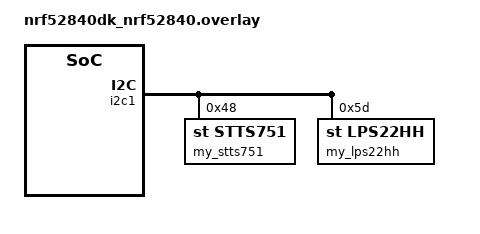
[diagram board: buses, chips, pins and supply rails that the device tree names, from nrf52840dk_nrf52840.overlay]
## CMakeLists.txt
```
cmake_minimum_required(VERSION 3.20.0)
find_package(Zephyr REQUIRED HINTS $ENV{ZEPHYR_BASE})

project(Project2)

target_sources(app PRIVATE src/main.c)
```

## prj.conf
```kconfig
CONFIG_LOG=y
CONFIG_GPIO=y
CONFIG_SMF=y
CONFIG_EVENTS=y
CONFIG_I2C=y
CONFIG_SENSOR=y
CONFIG_STTS751=y
CONFIG_LPS22HH=y
CONFIG_LOG_BACKEND_UART=y
CONFIG_SERIAL=y
CONFIG_CONSOLE=y
CONFIG_UART_CONSOLE=y
CONFIG_SERIAL=y


# Bluetooth LE
CONFIG_BT=y
CONFIG_BT_PERIPHERAL=y
CONFIG_BT_DEVICE_NAME="YCW_Node"

# Increase stack size for the main thread and System Workqueue
CONFIG_SYSTEM_WORKQUEUE_STACK_SIZE=2048
CONFIG_MAIN_STACK_SIZE=2048
CONFIG_LOG_MODE_DEFERRED=y
CONFIG_LOG_PROCESS_THREAD_STACK_SIZE=1024
```

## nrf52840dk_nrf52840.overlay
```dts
// To get started, press Ctrl+Space to bring up the completion menu and view the available nodes.

// You can also use the buttons in the sidebar to perform actions on nodes.
// Actions currently available include:

// * Enabling / disabling the node
// * Adding the bus to a bus
// * Removing the node
// * Connecting ADC channels

// For more help, browse the DeviceTree documentation at https://docs.zephyrproject.org/latest/guides/dts/index.html
// You can also visit the nRF DeviceTree extension documentation at https://docs.nordicsemi.com/bundle/nrf-connect-vscode/page/guides/ncs_configure_app.html#devicetree-support-in-the-extension
&i2c1 {
    status = "okay";
};


&i2c1 {
    my_stts751: stts751@48 {
        compatible = "st,stts751";
        reg = <0x48>;
    };

    my_lps22hh: lps22hh@5d {
        compatible = "st,lps22hh";
        reg = <0x5d>;
    };
};
```

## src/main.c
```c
#include <zephyr/kernel.h>
#include <zephyr/device.h>
#include <zephyr/devicetree.h>
#include <zephyr/logging/log.h>

#include <zephyr/drivers/i2c.h>
#include <zephyr/sys/printk.h>

#include <zephyr/bluetooth/bluetooth.h>
#include <zephyr/bluetooth/gap.h>
#include <zephyr/bluetooth/uuid.h>
#include <zephyr/bluetooth/conn.h>
#include <zephyr/bluetooth/gatt.h>

#include <math.h>
#include "main.h"
#include "my_ess.h"

#define SLEEP_TIME_MS   1000
#define STACKSIZE 2048

#define THREAD0_PRIORITY 7 //ble_notify thread
#define THREAD1_PRIORITY 7 //stss751_poll thread
#define THREAD2_PRIORITY 7 //lps22hh_poll thread

/* Define the I2C slave device address and the addresses of relevant registers */
#define STTS751_TEMP_HIGH_REG            0x00
#define STTS751_TEMP_LOW_REG             0x02
// #define STTS751_CONFIG_REG               0x03
#define LPS22HH_PRES_OUT_H               0x2A
#define LPS22HH_PRES_OUT_L               0x29
#define LPS22HH_PRES_OUT_XL              0x28
#define LPS22HH_CTRL_REG1                0x10
// #define LPS22HH_CTRL_REG2                0x11
// #define LPS22HH_CTRL_REG3                0x12

/* Get the node identifier of the sensor */
#define I2C_NODE    DT_NODELABEL(my_stts751)
#define I2C_NODE1   DT_NODELABEL(my_lps22hh)

BUILD_ASSERT(DT_NODE_HAS_STATUS(I2C_NODE, okay), "I2C_NODE not okay");
BUILD_ASSERT(DT_NODE_HAS_STATUS(I2C_NODE1, okay), "I2C_NODE1 not okay");


LOG_MODULE_REGISTER(main, LOG_LEVEL_DBG);

typedef struct {
    float temp_value;  // assume sensors no more precise than float32
    float pres_value;
    uint8_t sensor_id;  // up to 256 sensors
} SensorReading;

K_MUTEX_DEFINE(msgq_mutex);

K_MSGQ_DEFINE(msgq_ble_notify, sizeof(SensorReading), 16, 8);

static const struct bt_le_adv_param *adv_param = BT_LE_ADV_CONN;


/*static struct bt_le_adv_param adv_param = BT_LE_ADV_PARAM_INIT(
    //(
    //    BT_LE_ADV_OPT_CONNECTABLE
    //), /* Connectable advertising */
    //800, /* Min Advertising Interval 500ms (800*0.625ms) */
    //1001, /* Max Advertising Interval 625.625ms (1001*0.625ms) */
    //NULL); /* Set to NULL for undirected advertising */


static const struct bt_data adv_data[] = {
    BT_DATA_BYTES(BT_DATA_FLAGS, BT_LE_AD_NO_BREDR),
    BT_DATA(BT_DATA_NAME_COMPLETE, 
        CONFIG_BT_DEVICE_NAME, 
        sizeof(CONFIG_BT_DEVICE_NAME) - 1
    ),

};

static const struct bt_data scan_data[] = {
    BT_DATA_BYTES(BT_DATA_UUID128_ALL, BT_UUID_16_ENCODE(BT_UUID_ESS_VAL)),
};

static void on_connected(struct bt_conn *conn, uint8_t err)
{
    if (err) {
		//printk("Connection failed (err %u)\n", err);
        LOG_ERR("Connection failed (err %u)\n", err);
		return;
	}
	//printk("Connected\n");
    LOG_INF("Connected\n");
}

static void on_disconnected(struct bt_conn *conn, uint8_t reason)
{
	// printk("Disconnected (reason %u)\n", reason);
    LOG_INF("Disconnected (reason %u)\n", reason);
}

struct bt_conn_cb connection_callbacks = {
	.connected = on_connected,
	.disconnected = on_disconnected,
};

BT_GATT_SERVICE_DEFINE(
    my_ess_service,
    BT_GATT_PRIMARY_SERVICE(BT_UUID_ESS),  // [0]
    BT_GATT_CHARACTERISTIC(   // [1]
        BT_UUID_TEMPERATURE,  // [2]
        BT_GATT_CHRC_NOTIFY,
        BT_GATT_PERM_NONE,
        NULL, NULL, NULL  
    ),
    
    BT_GATT_CCC(    // [3]
        NULL,
        BT_GATT_PERM_READ | BT_GATT_PERM_WRITE
    ),
);

BT_GATT_SERVICE_DEFINE(
    my_ess_service1,
    BT_GATT_PRIMARY_SERVICE(BT_UUID_HRS),  // [0]
    BT_GATT_CHARACTERISTIC(   // [1]
        BT_UUID_PRESSURE,  // [2]
        BT_GATT_CHRC_NOTIFY,
        BT_GATT_PERM_NONE,
        NULL, NULL, NULL  
    ),
    
    BT_GATT_CCC(    // [3]
        NULL,
        BT_GATT_PERM_READ | BT_GATT_PERM_WRITE
    ),
);

void thread0(void) {
    // printk("Started notifying thread. \n");
    LOG_DBG("Started notifying thread.");
    int16_t ble_char_temperature;
    int32_t ble_char_pressure;
    while (true) {
        SensorReading now_sensor_reading;
        // k_mutex_lock(&msgq_mutex, K_FOREVER);
        k_msgq_get(&msgq_ble_notify, &now_sensor_reading, K_FOREVER);
        // k_mutex_unlock(&msgq_mutex);

        LOG_DBG("Message Recieved %d", now_sensor_reading.sensor_id);

        if (now_sensor_reading.sensor_id == 0) // this is the temperature sensor
        {
            LOG_DBG("Message Recieved %f", (double)now_sensor_reading.temp_value);
            // according to Bluetooth Characteristic Specs, raw value is divided by 100
            ble_char_temperature = (int16_t)(nearbyintf(now_sensor_reading.temp_value * 100));
            bt_gatt_notify(  // actual call to notify and change the [2] value
                NULL,
                &my_ess_service.attrs[2],
                &(ble_char_temperature),
                sizeof(ble_char_temperature)
            );
        }

        if (now_sensor_reading.sensor_id == 1) // this is the pressure sensor
        {
            LOG_DBG("Message Recieved %f", (double)now_sensor_reading.pres_value);
            // according to Bluetooth Characteristic Specs, raw value is divided by ??
            ble_char_pressure = (int32_t)(nearbyintf(now_sensor_reading.pres_value));
            bt_gatt_notify(  // actual call to notify and change the [2] value
                NULL,
                &my_ess_service1.attrs[2],
                &(ble_char_pressure),
                sizeof(ble_char_pressure)
            );
        }
    }
};
void thread1(void* void_msec_period) {
    float temp_degC;
    SensorReading now_stts751_reading;
    // printk("Started STTS751 polling thread. \n");
    LOG_DBG("Started STTS751 polling thread.");
    while (true) {
        temp_degC = poll_stts751_temp();
        now_stts751_reading.sensor_id = 0;
        now_stts751_reading.temp_value = temp_degC;
        // k_mutex_lock(&msgq_mutex, K_FOREVER);
        k_msgq_put(&msgq_ble_notify, &now_stts751_reading, K_FOREVER);
        // k_mutex_unlock(&msgq_mutex);
        k_msleep(SLEEP_TIME_MS);
    }
};
void thread2(void) {
    float Pa_value;
    SensorReading now_lps22hh_reading;
    // printk("Started LPS22HH polling thread. \n");
    LOG_DBG("Started LPS22HH polling thread.");
    while (true) {
        Pa_value = poll_lps22hh_pres();
        now_lps22hh_reading.sensor_id = 1;
        now_lps22hh_reading.pres_value = Pa_value;
        // k_mutex_lock(&msgq_mutex, K_FOREVER);
        k_msgq_put(&msgq_ble_notify, &now_lps22hh_reading, K_FOREVER);
        // k_mutex_unlock(&msgq_mutex);
        k_msleep(2 * SLEEP_TIME_MS);
    }
};

/* Define and initialize the threads */
K_THREAD_DEFINE(thread0_id, STACKSIZE, thread0, NULL, NULL, NULL,
		THREAD0_PRIORITY, 0, 0);
K_THREAD_DEFINE(thread1_id, STACKSIZE, thread1, NULL, NULL, NULL,
		THREAD1_PRIORITY, 0, 0);
K_THREAD_DEFINE(thread2_id, STACKSIZE, thread2, NULL, NULL, NULL,
		THREAD2_PRIORITY, 0, 0);

int main(void)
{
	int err;

    // k_mutex_init(&msgq_mutex);

    err = bt_enable(NULL);
    if (err) {
        // printk("Bluetooth init failed (err %d)\n", err);
        LOG_ERR("Bluetooth init failed (err %d)\n", err);
        return err;
    }

    bt_conn_cb_register(&connection_callbacks);
    // printk("Bluetooth initialized\n");
    LOG_INF("Bluetooth initialized\n");

    err = bt_le_adv_start(
        adv_param,
        adv_data, ARRAY_SIZE(adv_data),
        scan_data, ARRAY_SIZE(scan_data)
    );
    

    if (err) {
        // printk("Advertising failed to start (err %d)\n", err);
        LOG_ERR("Advertising failed to start (err %d)\n", err);
        return err;
    }
    // printk("Advertising successfully started\n");
    LOG_INF("Advertising successfully started\n");
    
    while (true) {
        // printk("current time is %d \n \n", k_uptime_get_32());
        LOG_INF("current time is %d\n", k_uptime_get_32());
        poll_stts751_temp();    // Read and print temperature
        poll_lps22hh_pres();    // Read and print pressure
        k_msleep(2 * SLEEP_TIME_MS);
    }
}
```

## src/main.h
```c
#include <zephyr/kernel.h>
#include <zephyr/logging/log.h>
#include <zephyr/drivers/i2c.h>

const uint8_t STTS751_TEMP_HIGH_REG = 0x00;
const uint8_t STTS751_TEMP_LOW_REG  = 0x02;
const uint8_t LPS22HH_PRES_OUT_H    = 0x2A;
const uint8_t LPS22HH_PRES_OUT_L    = 0x29;
const uint8_t LPS22HH_PRES_OUT_XL   = 0x28;
const uint8_t LPS22HH_CTRL_REG1     = 0x10;
// const uint8_t LPS22HH_CTRL_REG2     = 0x11;
// const uint8_t LPS22HH_CTRL_REG3     = 0x12;


float calc_stts751_temp(uint8_t byte_high, uint8_t byte_low) {
    int temp = ((int)byte_high * 256 + ((int)byte_low & 0xF0)) / 16;
    if(temp > 2047) {
        temp -= 4096;
    }
    // Convert to engineering units 
    double cTemp = temp * 0.0625;
    double fTemp = cTemp * 1.8 + 32;
    // Print reading to console  
    // printk("Temperature in Celsius : %.2f C \n", cTemp);
    // printk("Temperature in Fahrenheit : %.2f F \n", fTemp);
    // printk("Temperature (High Byte: %x, Low Byte: %x \n", byte_high, byte_low);

    return cTemp;
};

float calc_lps22hh_pres(uint8_t byte_high, uint8_t byte_mid, uint8_t byte_low) {
    int32_t pressure_raw = ((int32_t)byte_high << 16) | ((int32_t)byte_mid << 8) | byte_low;

    // Handle sign extension for negative pressure values
    if (pressure_raw & 0x800000) {
        pressure_raw |= 0xFF000000; // Extend the sign bits
    }

    // Divide by sensitivity to get pressure in hPa
    float pressure_hpa = (float)pressure_raw / 4096.0;

    // printk("Pressure = %.2f Pascals \n", pressure_hpa);
    // printk("Pressure (High Byte: %x, Mid Byte: %x, Low Byte: %x \n", byte_high, byte_mid, byte_low);

    return pressure_hpa;   
};

float poll_lps22hh_pres(void) {
    const struct i2c_dt_spec dt_spec_lps22hh = I2C_DT_SPEC_GET(DT_NODELABEL(my_lps22hh));
    uint8_t high_byte, mid_byte, low_byte;
    int err;

    if (i2c_is_ready_dt(&dt_spec_lps22hh) != true) {
        printk("I2C0 bus not ready for some reason!");
        return -1E10;
    }
    uint8_t config[2] = {LPS22HH_CTRL_REG1,0x10};
    err = i2c_write_dt(&dt_spec_lps22hh, config, sizeof(config));

    err = i2c_reg_read_byte_dt(&dt_spec_lps22hh, LPS22HH_PRES_OUT_XL, &low_byte);
    err = i2c_reg_read_byte_dt(&dt_spec_lps22hh, LPS22HH_PRES_OUT_L, &mid_byte);
    err = i2c_reg_read_byte_dt(&dt_spec_lps22hh, LPS22HH_PRES_OUT_H, &high_byte);
    
    float Pa_value = calc_lps22hh_pres(high_byte, mid_byte, low_byte);

    printk("Pressure = %.2f Pascals \n", Pa_value);

    return Pa_value;
};

float poll_stts751_temp(void) {
    const struct i2c_dt_spec dt_spec_stts751 = I2C_DT_SPEC_GET(DT_NODELABEL(my_stts751));
    uint8_t low_byte, high_byte;
    int err;

    if (i2c_is_ready_dt(&dt_spec_stts751) != true) {
        printk("I2C0 bus not ready for some reason!");
        return -1E10;
    }

    err = i2c_reg_read_byte_dt(&dt_spec_stts751, STTS751_TEMP_LOW_REG, &low_byte);

    err = i2c_reg_read_byte_dt(&dt_spec_stts751, STTS751_TEMP_HIGH_REG, &high_byte);

    double tempC = calc_stts751_temp(high_byte, low_byte);

    printk("Temperature in Celsius : %.2f C \n", tempC);

    return tempC;

};
```

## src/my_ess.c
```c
#include <zephyr/types.h>
#include <stddef.h>
#include <string.h>
#include <errno.h>
#include <zephyr/sys/printk.h>
#include <zephyr/sys/byteorder.h>
#include <zephyr/kernel.h>
#include <zephyr/logging/log.h>
#include <zephyr/bluetooth/bluetooth.h>
#include <zephyr/bluetooth/hci.h>
#include <zephyr/bluetooth/conn.h>
#include <zephyr/bluetooth/uuid.h>
#include <zephyr/bluetooth/gatt.h>

#include "my_ess.h"

LOG_MODULE_DECLARE(sample_bluey);

static void myess_ccc_temp_cfg_changed(const struct bt_gatt_attr *attr, uint16_t value)
{
    // if the Central (client) wants to be notified, it will change to BT_GATT_CCC_NOTIFY
    // otherwise, it will be 0
    LOG_INF("CCC changed for Temp Char to: %d\n", value);
}

/* Environmental Sensing Service Declaration */
BT_GATT_SERVICE_DEFINE(
    my_es_svc,  // [0]
    BT_GATT_PRIMARY_SERVICE(BT_UUID_MY_ESS),  // [1]

    BT_GATT_CHARACTERISTIC(BT_UUID_MY_ESS_TEMP,  // [2]
        BT_GATT_CHRC_NOTIFY, BT_GATT_PERM_NONE, NULL, NULL, NULL),  // [3]
    
    BT_GATT_CCC(myess_ccc_temp_cfg_changed, BT_GATT_PERM_READ | BT_GATT_PERM_WRITE),  // [4]
);


int my_ess_send_sensor_notify(uint32_t sensor_value)
{
    int err; 
    err = bt_gatt_notify(
        NULL,  // notify all connections currently connected to this peripheral device
        &my_es_svc.attrs[2],   // because service declaration is handle 0x0001, ours is 0x0002
        &sensor_value, 
        sizeof(sensor_value));
    return err;
}
```

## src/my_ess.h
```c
#ifndef MY_ESS_H_
#define MY_ESS_H_

#ifdef __cplusplus
extern "C" {
#endif

#include <zephyr/types.h>
// #include <zephyr/bluetooth/uuid.h>


// 0x181A from Bluetooth official assigned numbers for the Environmental Sensing service
#define BT_UUID_MY_ESS_VAL  BT_UUID_16_ENCODE(0x181A)
#define BT_UUID_MY_ESS  BT_UUID_DECLARE_16(0x181A) // NOTE: BT_UUID_DECLARE_16 doesn't take little-endian


// 0x2A6E from Bluetooth official assigned numbers for Temperature characteristic
#define BT_UUID_MY_ESS_TEMP_VAL  BT_UUID_16_ENCODE(0x2A6E)
#define BT_UUID_MY_ESS_TEMP  BT_UUID_DECLARE_16(0x2A6E)  // NOTE: BT_UUID_DECLARE_16 doesn't take little-endian


int my_ess_send_sensor_notify(uint32_t sensor_value);


#ifdef __cplusplus
}
#endif

#endif  /* MY_ESS_H_ */
```
